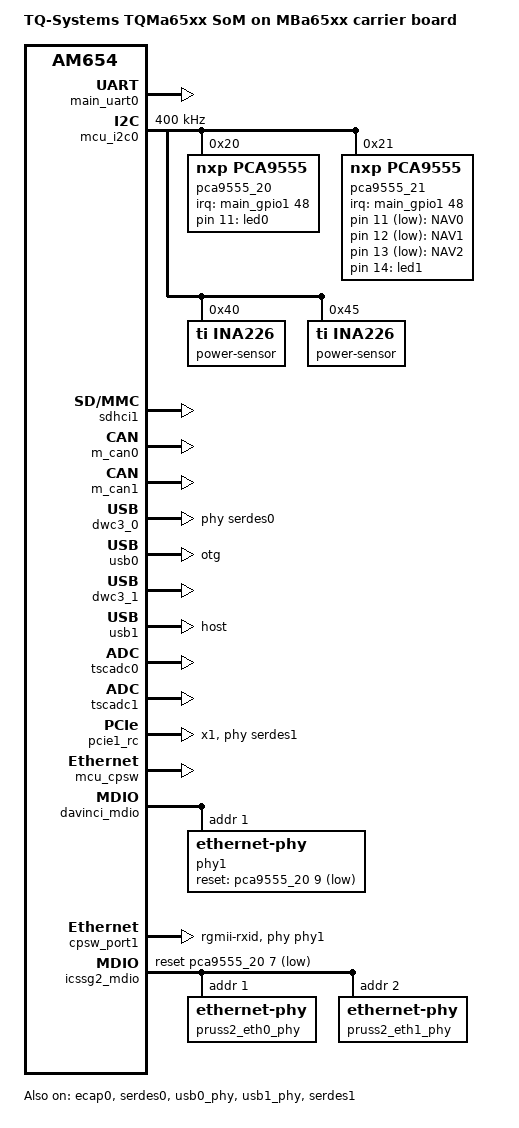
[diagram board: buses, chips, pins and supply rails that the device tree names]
// SPDX-License-Identifier: GPL-2.0
/*
 * Copyright (C) 2016-2018 Texas Instruments Incorporated - http://www.ti.com/
 * Copyright (C) 2020-2022 TQ-Systems GmbH
 * Author: Matthias Schiffer <matthias.schiffer@ew.tq-group.com>
 */

/dts-v1/;
#include <dt-bindings/input/input.h>
#include <dt-bindings/net/ti-dp83867.h>
#include <dt-bindings/gpio/gpio.h>
#include <dt-bindings/phy/phy.h>
#include <dt-bindings/phy/phy-am654-serdes.h>
#include "k3-am654-tqma65xx.dtsi"

/ {
	compatible = "tq,am654-tqma6548-mba65xx", "tq,am654-tqma6548",
		"ti,am654";
	model = "TQ-Systems TQMa65xx SoM on MBa65xx carrier board";

	aliases {
		ethernet5 = &pruss2_emac0;
		ethernet6 = &pruss2_emac1;
	};

	chosen {
		stdout-path = "serial2:115200n8";
		bootargs = "earlycon=ns16550a,mmio32,0x02800000";
	};

	gpio-keys {
		compatible = "gpio-keys";

		nav0 {
			label = "NAV0";
			linux,code = <BTN_0>;
			gpios = <&pca9555_21 11 GPIO_ACTIVE_LOW>;
		};
		nav1 {
			label = "NAV1";
			linux,code = <BTN_1>;
			gpios = <&pca9555_21 12 GPIO_ACTIVE_LOW>;
		};
		nav2 {
			label = "NAV2";
			linux,code = <BTN_2>;
			gpios = <&pca9555_21 13 GPIO_ACTIVE_LOW>;
		};
	};

	leds {
		compatible = "gpio-leds";

		led0 {
			label = "led0";
			gpios = <&pca9555_20 11 GPIO_ACTIVE_HIGH>;
		};
		led1 {
			label = "led1";
			gpios = <&pca9555_21 14 GPIO_ACTIVE_HIGH>;
		};
	};

	/* Dual Ethernet application node on PRU-ICSSG2 */
	pruss2_eth: pruss2_eth {
		compatible = "ti,am654-icssg-prueth";
		pinctrl-names = "default";
		pinctrl-0 = <&icssg2_rgmii_pins_default>;
		sram = <&msmc_ram>;
		prus = <&pru2_0>, <&rtu2_0>, <&tx_pru2_0>,
			<&pru2_1>, <&rtu2_1>, <&tx_pru2_1>;
		firmware-name = "ti-pruss/am65x-sr2-pru0-prueth-fw.elf",
				"ti-pruss/am65x-sr2-rtu0-prueth-fw.elf",
				"ti-pruss/am65x-sr2-txpru0-prueth-fw.elf",
				"ti-pruss/am65x-sr2-pru1-prueth-fw.elf",
				"ti-pruss/am65x-sr2-rtu1-prueth-fw.elf",
				"ti-pruss/am65x-sr2-txpru1-prueth-fw.elf";

		ti,pruss-gp-mux-sel = <2>,      /* MII mode */
				      <2>,
				      <2>,
				      <2>,	/* MII mode */
				      <2>,
				      <2>;
		mii-g-rt = <&icssg2_mii_g_rt>;
		mii-rt = <&icssg2_mii_rt>;
		dma-coherent;
		dmas = <&main_udmap 0xc300>, /* egress slice 0 */
		       <&main_udmap 0xc301>, /* egress slice 0 */
		       <&main_udmap 0xc302>, /* egress slice 0 */
		       <&main_udmap 0xc303>, /* egress slice 0 */
		       <&main_udmap 0xc304>, /* egress slice 1 */
		       <&main_udmap 0xc305>, /* egress slice 1 */
		       <&main_udmap 0xc306>, /* egress slice 1 */
		       <&main_udmap 0xc307>, /* egress slice 1 */

		       <&main_udmap 0x4300>, /* ingress slice 0 */
		       <&main_udmap 0x4301>, /* ingress slice 1 */
		       <&main_udmap 0x4302>, /* mgmnt rsp slice 0 */
		       <&main_udmap 0x4303>; /* mgmnt rsp slice 1 */
		dma-names = "tx0-0", "tx0-1", "tx0-2", "tx0-3",
			    "tx1-0", "tx1-1", "tx1-2", "tx1-3",
			    "rx0", "rx1",
			    "rxmgm0", "rxmgm1";

		pruss2_emac0: ethernet-mii0 {
			phy-handle = <&pruss2_eth0_phy>;
			phy-mode = "rgmii-rxid";
			interrupts-extended = <&icssg2_intc 24>;
			syscon-rgmii-delay = <&scm_conf 0x4120>;
			iep = <&icssg2_iep0>;
			/* Filled in by bootloader */
			local-mac-address = [00 00 00 00 00 00];
		};

		pruss2_emac1: ethernet-mii1 {
			phy-handle = <&pruss2_eth1_phy>;
			phy-mode = "rgmii-rxid";
			interrupts-extended = <&icssg2_intc 25>;
			syscon-rgmii-delay = <&scm_conf 0x4124>;
			/* Filled in by bootloader */
			local-mac-address = [00 00 00 00 00 00];
		};
	};
};

&main_uart0 {
	pinctrl-names = "default";
	pinctrl-0 = <&main_uart0_pins_default>;
	power-domains = <&k3_pds 146 TI_SCI_PD_SHARED>;
	status = "okay";
};

&mcu_i2c0 {
	pinctrl-names = "default";
	pinctrl-0 = <&mcu_i2c_pins_default>, <&mcu_i2c_int_pins_default>;
	clock-frequency = <400000>;
	status = "okay";

	pca9555_20: gpio@20 {
		compatible = "nxp,pca9555";
		reg = <0x20>;
		gpio-controller;
		#gpio-cells = <2>;
		interrupt-controller;
		#interrupt-cells = <2>;
		interrupt-parent = <&main_gpio1>;
		interrupts = <48 IRQ_TYPE_EDGE_FALLING>;

		p1 {
			gpio-hog;
			gpios = <1 GPIO_ACTIVE_HIGH>;
			input;
			line-name = "PRG0_RGMII_INT#";
		};
		p4 {
			gpio-hog;
			gpios = <4 GPIO_ACTIVE_HIGH>;
			input;
			line-name = "PRG1_RGMII_INT#";
		};
		p8 {
			gpio-hog;
			gpios = <8 GPIO_ACTIVE_HIGH>;
			input;
			line-name = "PRG2_RGMII_INT#";
		};
		p10 {
			gpio-hog;
			gpios = <10 GPIO_ACTIVE_HIGH>;
			input;
			line-name = "MCU_RGMII_INT#";
		};
	};

	pca9555_21: gpio@21 {
		compatible = "nxp,pca9555";
		reg = <0x21>;
		gpio-controller;
		#gpio-cells = <2>;
		interrupt-controller;
		#interrupt-cells = <2>;
		interrupt-parent = <&main_gpio1>;
		interrupts = <48 IRQ_TYPE_EDGE_FALLING>;

		p0 {
			gpio-hog;
			gpios = <0 GPIO_ACTIVE_HIGH>;
			output-high;
			line-name = "MPCIE_1V5_EN";
		};
		p6 {
			gpio-hog;
			gpios = <6 GPIO_ACTIVE_HIGH>;
			output-high;
			line-name = "USB_HUB_RST#";
		};
		p7 {
			gpio-hog;
			gpios = <7 GPIO_ACTIVE_HIGH>;
			output-high;
			line-name = "CLK_PDN#";
		};
		p8 {
			/* MPCIE_RST# is used both for mPCIe- and USB-based
			 * cards in the mPCIe slot, so we hog it rather than
			 * assigning it to the PCIe node as a reset GPIO.
			 */
			gpio-hog;
			gpios = <8 GPIO_ACTIVE_HIGH>;
			output-high;
			line-name = "MPCIE_RST#";
		};
		p9 {
			/* Hog corresponds to RFKILL pin for mPCIe radio cards
			 * (WLAN, BE, LTE, ...) - remove hog to allow userspace
			 * control
			 */
			gpio-hog;
			gpios = <9 GPIO_ACTIVE_HIGH>;
			output-high;
			line-name = "MPCIE_DIS#";
		};
	};

	power-sensor@40 {
		compatible = "ti,ina226";
		reg = <0x40>;
		shunt-resistor = <3000>;
	};

	power-sensor@45 {
		compatible = "ti,ina226";
		reg = <0x45>;
		shunt-resistor = <3000>;
	};
};

&ecap0 {
	pinctrl-names = "default";
	pinctrl-0 = <&ecap0_pins_default>;
	status = "okay";
};

&sdhci1 {
	pinctrl-names = "default";
	pinctrl-0 = <&main_mmc1_pins_default>;
	sdhci-caps-mask = <0x7 0x0>;
	no-mmc;
	no-sdio;
	ti,driver-strength-ohm = <50>;
	disable-wp;
	status = "okay";
};

&m_can0 {
	pinctrl-names = "default";
	pinctrl-0 = <&mcu_mcan0_pins_default>;
	status = "okay";

	can-transceiver {
		max-bitrate = <5000000>;
	};
};

&m_can1 {
	pinctrl-names = "default";
	pinctrl-0 = <&mcu_mcan1_pins_default>;
	status = "okay";

	can-transceiver {
		max-bitrate = <5000000>;
	};
};

&serdes0 {
	assigned-clocks = <&k3_clks 153 4>, <&serdes0 AM654_SERDES_CMU_REFCLK>;
	assigned-clock-parents = <&k3_clks 153 7>, <&k3_clks 153 4>;
	status = "okay";
};

&dwc3_0 {
	assigned-clock-parents = <&k3_clks 151 4>, <&k3_clks 151 8>;
	phys = <&serdes0 PHY_TYPE_USB3 0>;
	phy-names = "usb3-phy";
	status = "okay";
};

&usb0 {
	pinctrl-names = "default";
	pinctrl-0 = <&usb0_pins_default>;
	dr_mode = "otg";
	maximum-speed = "super-speed";
	snps,dis-u1-entry-quirk;
	snps,dis-u2-entry-quirk;
};

&usb0_phy {
	status = "okay";
};

&dwc3_1 {
	status = "okay";
};

&usb1 {
	pinctrl-names = "default";
	pinctrl-0 = <&usb1_pins_default>;
	dr_mode = "host";
};

&usb1_phy {
	status = "okay";
};

&tscadc0 {
	status = "okay";

	adc {
		ti,adc-channels = <0 1 2 3 4 5 6 7>;
	};
};

&tscadc1 {
	status = "okay";

	adc {
		ti,adc-channels = <0 1 2 3 4 5 6 7>;
	};
};

&serdes1 {
	status = "okay";
};

&pcie1_rc {
	num-lanes = <1>;
	phys = <&serdes1 PHY_TYPE_PCIE 0>;
	phy-names = "pcie-phy0";
	status = "okay";
};

&mcu_cpsw {
	pinctrl-names = "default";
	pinctrl-0 = <&mcu_cpsw_pins_default &mcu_mdio_pins_default>;
	status = "okay";
};

&davinci_mdio {
	phy1: ethernet-phy@1 {
		reg = <1>;
		reset-gpios = <&pca9555_20 9 GPIO_ACTIVE_LOW>;
		reset-assert-us = <1000>;
		reset-deassert-us = <1000>;
		ti,rx-internal-delay = <DP83867_RGMIIDCTL_2_00_NS>;
		ti,fifo-depth = <DP83867_PHYCR_FIFO_DEPTH_4_B_NIB>;
	};
};

&cpsw_port1 {
	phy-mode = "rgmii-rxid";
	phy-handle = <&phy1>;
};

&icssg2_mdio {
	pinctrl-names = "default";
	pinctrl-0 = <&icssg2_mdio_pins_default>;
	reset-gpios = <&pca9555_20 7 GPIO_ACTIVE_LOW>;
	reset-delay-us = <1000>;
	status = "okay";

	/* ti,force-master is required due to the high jitter of our clock
	 * generator. This is a workaround and prevents connections to other
	 * devices that also require to use master mode (like the PRU Ethernet
	 * ports of other MBa65xx mainboards)
	 */
	pruss2_eth0_phy: ethernet-phy@1 {
		reg = <1>;
		ti,rx-internal-delay = <DP83867_RGMIIDCTL_2_00_NS>;
		ti,fifo-depth = <DP83867_PHYCR_FIFO_DEPTH_4_B_NIB>;
		ti,force-master;
	};

	pruss2_eth1_phy: ethernet-phy@2 {
		reg = <2>;
		ti,rx-internal-delay = <DP83867_RGMIIDCTL_2_00_NS>;
		ti,fifo-depth = <DP83867_PHYCR_FIFO_DEPTH_4_B_NIB>;
		ti,force-master;
	};
};

&main_pmx0 {
	main_uart0_pins_default: main_uart0_pins_default {
		pinctrl-single,pins = <
			/* (AF11) UART0_RXD */
			AM65X_IOPAD(0x01e4, PIN_INPUT, 0)
			/* (AE11) UART0_TXD */
			AM65X_IOPAD(0x01e8, PIN_OUTPUT, 0)
			/* (AG11) UART0_CTSn */
			AM65X_IOPAD(0x01ec, PIN_INPUT, 0)
			/* (AD11) UART0_RTSn */
			AM65X_IOPAD(0x01f0, PIN_OUTPUT, 0)
		>;
	};

	main_mmc1_pins_default: main_mmc1_pins_default {
		pinctrl-single,pins = <
			/* (C27) MMC1_CLK */
			AM65X_IOPAD(0x02d4, PIN_INPUT_PULLDOWN, 0)
			/* (C28) MMC1_CMD */
			AM65X_IOPAD(0x02d8, PIN_INPUT_PULLUP, 0)
			/* (D28) MMC1_DAT0 */
			AM65X_IOPAD(0x02d0, PIN_INPUT_PULLUP, 0)
			/* (E27) MMC1_DAT1 */
			AM65X_IOPAD(0x02cc, PIN_INPUT_PULLUP, 0)
			/* (D26) MMC1_DAT2 */
			AM65X_IOPAD(0x02c8, PIN_INPUT_PULLUP, 0)
			/* (D27) MMC1_DAT3 */
			AM65X_IOPAD(0x02c4, PIN_INPUT_PULLUP, 0)
			/* (B24) MMC1_SDCD */
			AM65X_IOPAD(0x02dc, PIN_INPUT_PULLUP, 0)
			/* (C24) MMC1_SDWP */
			AM65X_IOPAD(0x02e0, PIN_INPUT, 0)
		>;
	};

	usb1_pins_default: usb1_pins_default {
		pinctrl-single,pins = <
			/* (AC8) USB1_DRVVBUS */
			AM65X_IOPAD(0x02c0, PIN_OUTPUT, 0)
		>;
	};

	usb0_pins_default: usb0_pins_default {
		pinctrl-single,pins = <
			/* (AD9) USB0_DRVVBUS */
			AM65X_IOPAD(0x02bc, PIN_OUTPUT, 0)
		>;
	};

	icssg2_mdio_pins_default: icssg2_mdio_pins_default {
		pinctrl-single,pins = <
			/* (AC19) PRG2_PRU0_GPO7.PRG2_MDIO0_MDIO */
			AM65X_IOPAD(0x0094, PIN_INPUT, 2)
			/* (AE15) PRG2_PRU1_GPO7.PRG2_MDIO0_MDC */
			AM65X_IOPAD(0x00c8, PIN_OUTPUT, 2)
		>;
	};

	icssg2_rgmii_pins_default: icssg2_rgmii_pins_default {
		pinctrl-single,pins = <
			/* (AF18) PRG2_PRU0_GPO0.PRG2_RGMII1_RD0 */
			AM65X_IOPAD(0x0078, PIN_INPUT, 2)
			/* (AE18) PRG2_PRU0_GPO1.PRG2_RGMII1_RD1 */
			AM65X_IOPAD(0x007c, PIN_INPUT, 2)
			/* (AH17) PRG2_PRU0_GPO2.PRG2_RGMII1_RD2 */
			AM65X_IOPAD(0x0080, PIN_INPUT, 2)
			/* (AG18) PRG2_PRU0_GPO3.PRG2_RGMII1_RD3 */
			AM65X_IOPAD(0x0084, PIN_INPUT, 2)
			/* (AH16) PRG2_PRU0_GPO8.PRG2_RGMII1_TD0 */
			AM65X_IOPAD(0x0098, PIN_OUTPUT, 2)
			/* (AG16) PRG2_PRU0_GPO9.PRG2_RGMII1_TD1 */
			AM65X_IOPAD(0x009c, PIN_OUTPUT, 2)
			/* (AF16) PRG2_PRU0_GPO10.PRG2_RGMII1_TD2 */
			AM65X_IOPAD(0x00a0, PIN_OUTPUT, 2)
			/* (AE16) PRG2_PRU0_GPO11.PRG2_RGMII1_TD3 */
			AM65X_IOPAD(0x00a4, PIN_OUTPUT, 2)
			/* (AD16) PRG2_PRU0_GPO16.PRG2_RGMII1_TXC */
			AM65X_IOPAD(0x00a8, PIN_INPUT, 2)
			/* (AE17) PRG2_PRU0_GPO6.PRG2_RGMII1_TX_CTL */
			AM65X_IOPAD(0x0090, PIN_OUTPUT, 2)
			/* (AF17) PRG2_PRU0_GPO5.PRG2_RGMII1_RXC */
			AM65X_IOPAD(0x008c, PIN_INPUT, 2)
			/* (AG17) PRG2_PRU0_GPO4.PRG2_RGMII1_RX_CTL */
			AM65X_IOPAD(0x0088, PIN_INPUT, 2)

			/* (AH15) PRG2_PRU1_GPO0.PRG2_RGMII2_RD0 */
			AM65X_IOPAD(0x00ac, PIN_INPUT, 2)
			/* (AC16) PRG2_PRU1_GPO1.PRG2_RGMII2_RD1 */
			AM65X_IOPAD(0x00b0, PIN_INPUT, 2)
			/* (AD17) PRG2_PRU1_GPO2.PRG2_RGMII2_RD2 */
			AM65X_IOPAD(0x00b4, PIN_INPUT, 2)
			/* (AH14) PRG2_PRU1_GPO3.PRG2_RGMII2_RD3 */
			AM65X_IOPAD(0x00b8, PIN_INPUT, 2)
			/* (AD15) PRG2_PRU1_GPO8.PRG2_RGMII2_TD0 */
			AM65X_IOPAD(0x00cc, PIN_OUTPUT, 2)
			/* (AF14) PRG2_PRU1_GPO9.PRG2_RGMII2_TD1 */
			AM65X_IOPAD(0x00d0, PIN_OUTPUT, 2)
			/* (AC15) PRG2_PRU1_GPO10.PRG2_RGMII2_TD2 */
			AM65X_IOPAD(0x00d4, PIN_OUTPUT, 2)
			/* (AD14) PRG2_PRU1_GPO11.PRG2_RGMII2_TD3 */
			AM65X_IOPAD(0x00d8, PIN_OUTPUT, 2)
			/* (AE14) PRG2_PRU1_GPO16.PRG2_RGMII2_TXC */
			AM65X_IOPAD(0x00dc, PIN_INPUT, 2)
			/* (AC17) PRG2_PRU1_GPO6.PRG2_RGMII2_TX_CTL */
			AM65X_IOPAD(0x00c4, PIN_OUTPUT, 2)
			/* (AG15) PRG2_PRU1_GPO5.PRG2_RGMII2_RXC */
			AM65X_IOPAD(0x00c0, PIN_INPUT, 2)
			/* (AG14) PRG2_PRU1_GPO4.PRG2_RGMII2_RX_CTL */
			AM65X_IOPAD(0x00bc, PIN_INPUT, 2)
		>;
	};

	mcu_i2c_int_pins_default: mcu_i2c_int_pins_default {
		pinctrl-single,pins = <
			/* (U24) PRG0_PRU0_GPO19.GPIO1_48 */
			AM65X_IOPAD(0x0240, PIN_INPUT, 7)
		>;
	};
};

&main_pmx1 {
	ecap0_pins_default: ecap0_pins_default {
		pinctrl-single,pins = <
			/* (D21) ECAP0_IN_APWM_OUT */
			AM65X_IOPAD(0x0010, PIN_INPUT, 0)
		>;
	};
};

&wkup_pmx0 {
	mcu_mcan0_pins_default: mcu_mcan0_pins_default {
		pinctrl-single,pins = <
			/* (W2) MCU_MCAN0_RX */
			AM65X_WKUP_IOPAD(0x00ac, PIN_INPUT, 0)
			/* (W1) MCU_MCAN0_TX */
			AM65X_WKUP_IOPAD(0x00a8, PIN_OUTPUT, 0)
		>;
	};

	mcu_mcan1_pins_default: mcu_mcan1_pins_default {
		pinctrl-single,pins = <
			/* (AD3) WKUP_GPIO0_5.MCU_MCAN1_RX */
			AM65X_WKUP_IOPAD(0x00c4, PIN_INPUT, 1)
			/* (AC3) WKUP_GPIO0_4.MCU_MCAN1_TX */
			AM65X_WKUP_IOPAD(0x00c0, PIN_OUTPUT, 1)
		>;
	};

	mcu_i2c_pins_default: mcu_i2c_pins_default {
		pinctrl-single,pins = <
			/* (AD8) MCU_I2C0_SCL */
			AM65X_WKUP_IOPAD(0x00e8, PIN_INPUT, 0)
			/* (AD7) MCU_I2C0_SDA */
			AM65X_WKUP_IOPAD(0x00ec, PIN_INPUT, 0)
		>;
	};

	mcu_cpsw_pins_default: mcu_cpsw_pins_default {
		pinctrl-single,pins = <
			/* (N4) MCU_RGMII1_TX_CTL */
			AM65X_WKUP_IOPAD(0x0058, PIN_OUTPUT, 0)
			/* (N5) MCU_RGMII1_RX_CTL */
			AM65X_WKUP_IOPAD(0x005c, PIN_INPUT, 0)
			/* (M2) MCU_RGMII1_TD3 */
			AM65X_WKUP_IOPAD(0x0060, PIN_OUTPUT, 0)
			/* (M3) MCU_RGMII1_TD2 */
			AM65X_WKUP_IOPAD(0x0064, PIN_OUTPUT, 0)
			/* (M4) MCU_RGMII1_TD1 */
			AM65X_WKUP_IOPAD(0x0068, PIN_OUTPUT, 0)
			/* (M5) MCU_RGMII1_TD0 */
			AM65X_WKUP_IOPAD(0x006c, PIN_OUTPUT, 0)
			/* (L2) MCU_RGMII1_RD3 */
			AM65X_WKUP_IOPAD(0x0078, PIN_INPUT, 0)
			/* (L5) MCU_RGMII1_RD2 */
			AM65X_WKUP_IOPAD(0x007c, PIN_INPUT, 0)
			/* (M6) MCU_RGMII1_RD1 */
			AM65X_WKUP_IOPAD(0x0080, PIN_INPUT, 0)
			/* (L6) MCU_RGMII1_RD0 */
			AM65X_WKUP_IOPAD(0x0084, PIN_INPUT, 0)
			/* (N1) MCU_RGMII1_TXC */
			AM65X_WKUP_IOPAD(0x0070, PIN_INPUT, 0)
			/* (M1) MCU_RGMII1_RXC */
			AM65X_WKUP_IOPAD(0x0074, PIN_INPUT, 0)
		>;
	};

	mcu_mdio_pins_default: mcu_mdio1_pins_default {
		pinctrl-single,pins = <
			/* (L1) MCU_MDIO0_MDC */
			AM65X_WKUP_IOPAD(0x008c, PIN_OUTPUT, 0)
			/* (L4) MCU_MDIO0_MDIO */
			AM65X_WKUP_IOPAD(0x0088, PIN_INPUT, 0)
		>;
	};
};
